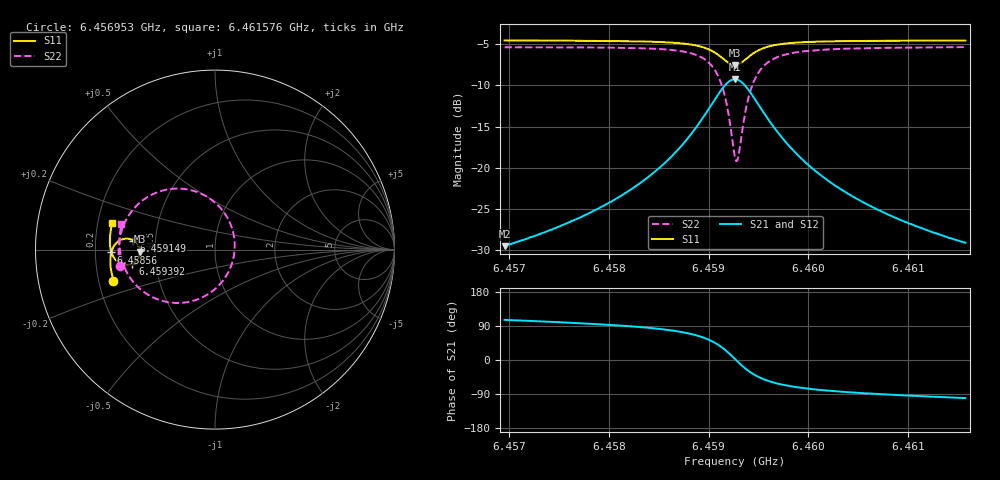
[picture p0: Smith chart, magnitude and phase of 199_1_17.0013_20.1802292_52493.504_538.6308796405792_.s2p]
#  HZ  S  RI  R  50.00
! Rohde & Schwarz Vector Network Analyzer
! Rohde-Schwarz,ZNB20-2Port,1311601062101988,3.16
! Created: UTC 3/20/2024, 11:00:58 PM
! freq[Hz]  re:S11  im:S11  re:S21  im:S21  re:S12  im:S12  re:S22  im:S22
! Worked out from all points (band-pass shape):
!   401 points, 6.456953 GHz to 6.461576 GHz, reference 50 ohm
!   highest |S21| = -9.26 dB at 6.459265 GHz (marker M1); lowest = -29.5 dB at 6.456953 GHz (marker M2)
!   |S21| within 3 dB of the highest: 6.459033 GHz to 6.459495 GHz (462.2 kHz wide, 0.00716 % of centre)
!   lowest |S11| = -7.6 dB at 6.459265 GHz (marker M3), VSWR 2.44, Z = 20.5 - j0.602 ohm
!   |S11| at or under -10 dB: nowhere
!   |S22| runs from -19.2 to -5.4 dB; largest |S21 - S12| = 0.013
!   S11 on the Smith chart (normalised r, x): 6.456953 GHz: 0.26, -0.14; 6.45856 GHz: 0.27, -0.01; 6.459149 GHz: 0.37, +0.05; 6.459392 GHz: 0.37, -0.07; 6.461576 GHz: 0.26, +0.12
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6.4569532e9  -0.5657 -0.1752  -0.00916 0.0321  -0.00735 0.0322  -0.531 -0.0898
6.4577275e9  -0.5801 -0.1076  -0.00602 0.05  -0.00342 0.0495  -0.5372 0.000581
6.458132e9  -0.5832 -0.0675  -0.000584 0.0682  0.00261 0.067  -0.5305 0.0637
6.4585018e9  -0.5796 -0.0237  0.0135 0.0984  0.0174 0.0959  -0.5048 0.1459
6.4585596e9  -0.5777 -0.0156  0.0178 0.1054  0.022 0.1023  -0.497 0.1625
6.4587677e9  -0.565 0.0166  0.0452 0.1378  0.0492 0.133  -0.446 0.2355
6.4589179e9  -0.5425 0.043  0.0901 0.1686  0.0934 0.1619  -0.3633 0.3004
6.4590566e9  -0.4988 0.0608  0.177 0.1854  0.178 0.1781  -0.2046 0.34
6.459149e9  -0.4542 0.0506  0.2669 0.1547  0.2672 0.1488  -0.0381 0.2906
6.4592184e9  -0.4252 0.0188  0.3276 0.0832  0.3297 0.0779  0.0774 0.162
6.4592646e9  -0.4181 -0.0121  0.344 0.0153  0.3478 0.00856  0.1099 0.0356
6.4592762e9  -0.4186 -0.0202  0.344 -0.00219  0.3478 -0.00995  0.1096 0.00222
6.4592993e9  -0.4221 -0.0358  0.3384 -0.0369  0.3423 -0.0461  0.0989 -0.0635
6.4593455e9  -0.4377 -0.0617  0.3102 -0.0968  0.3124 -0.1085  0.0419 -0.1762
6.4593917e9  -0.4597 -0.0781  0.2683 -0.1379  0.2676 -0.1508  -0.0427 -0.2509
6.4594842e9  -0.5029 -0.0848  0.1839 -0.1689  0.1779 -0.1804  -0.2105 -0.2973
6.4596344e9  -0.5466 -0.0644  0.0964 -0.1554  0.0881 -0.1616  -0.3773 -0.2487
6.4597962e9  -0.5682 -0.0369  0.0517 -0.1278  0.0442 -0.1307  -0.4577 -0.1774
6.4600389e9  -0.581 -0.00125  0.0226 -0.0967  0.0169 -0.0973  -0.5057 -0.0955
6.4603625e9  -0.5856 0.0372  0.00715 -0.0715  0.00307 -0.071  -0.5267 -0.021
6.4608133e9  -0.5837 0.0826  -0.00112 -0.0517  -0.00406 -0.0508  -0.532 0.0514
6.461576e9  -0.5718 0.1502  -0.00637 -0.0345  -0.00804 -0.0335  -0.5211 0.1413
